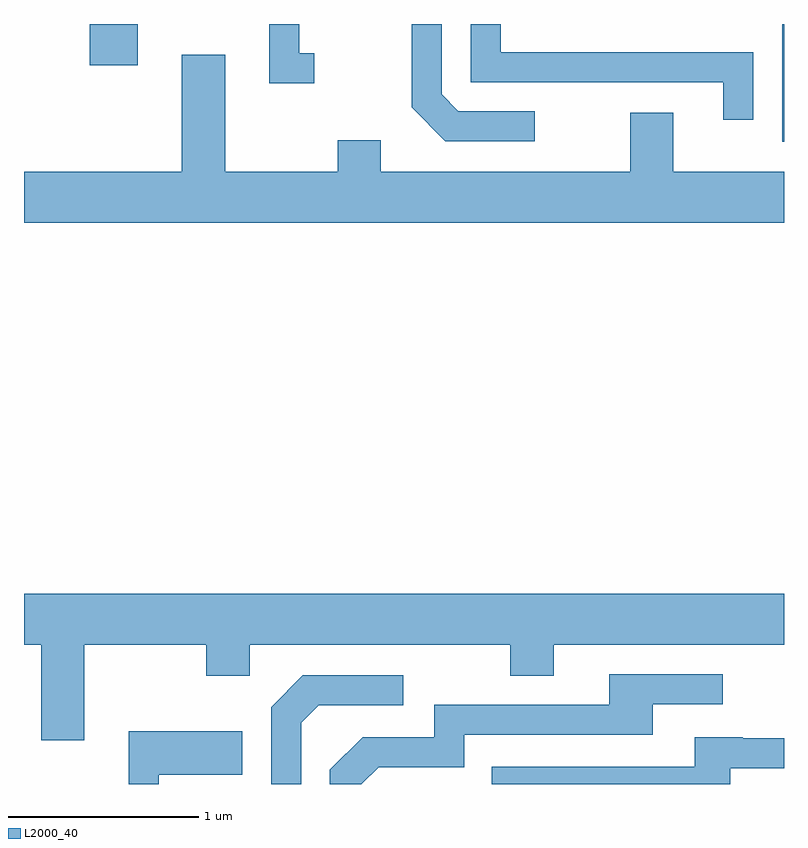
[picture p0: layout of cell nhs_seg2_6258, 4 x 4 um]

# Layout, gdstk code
import gdstk
lib = gdstk.Library(unit=1e-6, precision=1e-09)
def R(c, l, rs):  # rectangles x0, y0, x1, y1
    for r in rs: c.add(gdstk.rectangle(r[:2], r[2:], *l))
def P(c, l, *ps):  # polygons
    for p in ps: c.add(gdstk.Polygon(p, *l))
L2000_40 = (2000, 40)

nhs_seg2_6258 = lib.new_cell('nhs_seg2_6258')
R(nhs_seg2_6258, L2000_40, [(373.601,1053.181,373.611,1053.802), (369.956,1053.586,370.209,1053.802)])
P(nhs_seg2_6258, L2000_40, [(372.298,1053.344),(371.897,1053.344),(371.809,1053.432),(371.809,1053.802),(371.651,1053.802),(371.651,1053.364),(371.829,1053.186),(372.298,1053.186)],
  [(371.138,1053.649),(371.059,1053.649),(371.059,1053.802),(370.901,1053.802),(370.901,1053.491),(371.138,1053.491)],
  [(373.449,1053.654),(372.119,1053.654),(372.119,1053.802),(371.961,1053.802),(371.961,1053.496),(373.291,1053.496),(373.291,1053.298),(373.449,1053.298)],
  [(373.611,1053.024),(373.029,1053.024),(373.029,1053.334),(372.801,1053.334),(372.801,1053.024),(371.489,1053.024),(371.489,1053.189),(371.261,1053.189),(371.261,1053.024),(370.669,1053.024),(370.669,1053.639),(370.441,1053.639),(370.441,1053.024),(369.611,1053.024),(369.611,1052.756),(373.611,1052.756)],
  [(369.929,1050.536),(370.571,1050.536),(370.571,1050.371),(370.799,1050.371),(370.799,1050.536),(372.171,1050.536),(372.171,1050.371),(372.399,1050.371),(372.399,1050.536),(373.611,1050.536),(373.611,1050.804),(369.611,1050.804),(369.611,1050.536),(369.701,1050.536),(369.701,1050.031),(369.929,1050.031)],
  [(371.477,1049.891),(371.929,1049.891),(371.929,1050.061),(372.919,1050.061),(372.919,1050.221),(373.288,1050.221),(373.288,1050.379),(372.691,1050.379),(372.691,1050.219),(371.771,1050.219),(371.771,1050.049),(371.394,1050.049),(371.221,1049.877),(371.221,1049.802),(371.387,1049.802)],
  [(371.069,1050.124),(371.162,1050.216),(371.608,1050.216),(371.608,1050.374),(371.079,1050.374),(370.911,1050.207),(370.911,1049.802),(371.069,1049.802)],
  [(370.319,1049.851),(370.759,1049.851),(370.759,1050.079),(370.161,1050.079),(370.161,1049.802),(370.319,1049.802)],
  [(373.329,1049.886),(373.611,1049.886),(373.611,1050.044),(373.395,1050.044),(373.395,1050.049),(373.141,1050.049),(373.141,1049.894),(372.073,1049.894),(372.073,1049.802),(373.329,1049.802)])

lib.write_gds('nhs_seg2_6258.gds')
